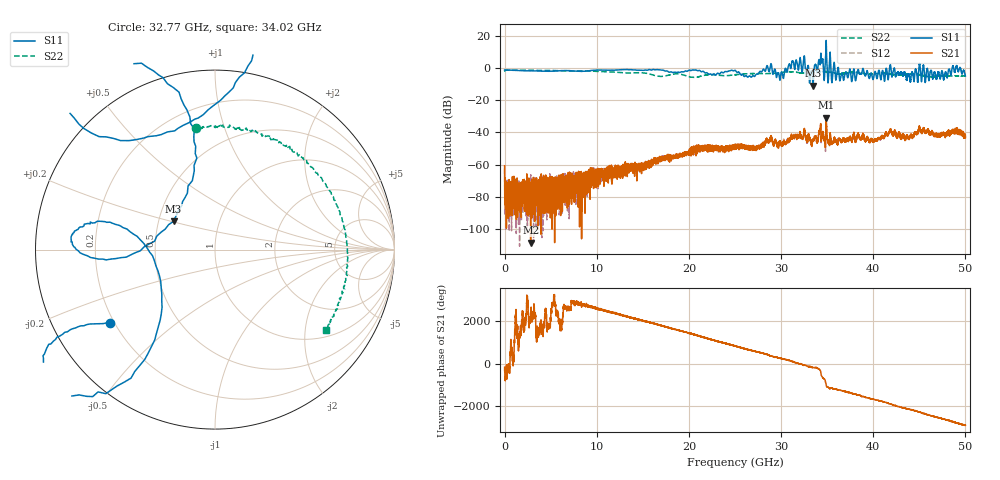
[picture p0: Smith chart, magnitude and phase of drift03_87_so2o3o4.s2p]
!Created with skrf (http://scikit-rf.org).
# Hz S RI R 50.0
!freq ReS11 ImS11 ReS21 ImS21 ReS12 ImS12 ReS22 ImS22
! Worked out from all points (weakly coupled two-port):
!   10001 points, 300 kHz to 50 GHz, reference 50 ohm
!   highest |S21| = -30.87 dB at 34.89 GHz (marker M1); lowest = -108.4 dB at 2.825 GHz (marker M2)
!   lowest |S11| = -11.1 dB at 33.47 GHz (marker M3), VSWR 1.78, Z = 29.9 + j10.2 ohm
!   |S11| at or under -10 dB: 33.44947 GHz to 33.48295 GHz (33.49 MHz wide, 0.1 % of centre)
!   |S22| runs from -5.9 to -1.3 dB; largest |S21 - S12| = 0.0066
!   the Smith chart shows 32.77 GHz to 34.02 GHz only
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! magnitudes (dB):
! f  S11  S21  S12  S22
! 300 kHz  -1.3  -60.6  -62.4  -2.0
! 270.3 MHz  -1.3  -75.6  -78.4  -1.4
! 2.825 GHz  -1.8  -108.4  -76.6  -1.4
! 8.335 GHz  -2.2  -68.8  -72.0  -1.9
! 16.67 GHz  -1.1  -57.3  -56.9  -5.1
! 25 GHz  -1.5  -48.5  -48.0  -4.2
! 26.92 GHz  -4.9  -49.1  -48.7  -3.5
! 28.73 GHz  -2.2  -45.4  -44.9  -3.5
! 30.06 GHz  -2.5  -46.7  -47.3  -2.8
! 31.87 GHz  -1.4  -42.4  -41.9  -2.9
! 33.34 GHz  -2.1  -47.4  -47.2  -2.9
! 33.47 GHz  -11.1  -45.2  -45.0  -2.8
! 34.3 GHz  7.9  -34.5  -35.3  -2.2
! 34.89 GHz  16.9  -30.9  -31.6  -2.3
! 36.59 GHz  -3.5  -45.8  -45.6  -3.6
! 40.16 GHz  -2.7  -45.3  -43.9  -3.8
! 41.67 GHz  -5.4  -40.8  -40.8  -3.6
! 43.84 GHz  -3.6  -43.1  -43.4  -3.8
! 45.19 GHz  -5.7  -39.6  -38.5  -4.4
! 47.83 GHz  -2.5  -42.6  -42.3  -4.8
! 48.84 GHz  -2.5  -38.4  -38.3  -5.1
! 50 GHz  -5.0  -43.2  -42.4  -5.0
